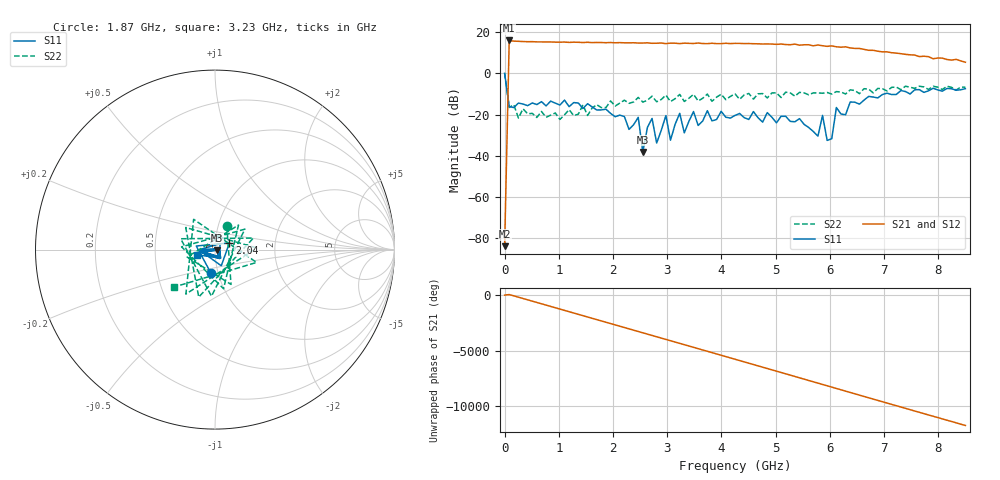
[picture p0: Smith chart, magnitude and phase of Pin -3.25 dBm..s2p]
! RsaToolbox (C) 2013 Rohde & Schwarz America
! Number of points: 101
! Number of ports: 2
! Balanced ports?: 0
# Hz S RI R 50
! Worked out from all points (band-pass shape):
!   101 points, 9 kHz to 8.5 GHz, reference 50 ohm
!   highest |S21| = 16.04 dB at 85.01 MHz (marker M1); lowest = -84.1 dB at 9 kHz (marker M2)
!   |S21| within 3 dB of the highest: 82.46 MHz to 6.104 GHz (6.022 GHz wide, 195 % of centre)
!   lowest |S11| = -38.2 dB at 2.55 GHz (marker M3), VSWR 1.02, Z = 51.2 - j0.319 ohm
!   |S11| at or under -10 dB: 52.98 MHz to 7.004 GHz (6.951 GHz wide, 197 % of centre); 7.104 GHz to 7.236 GHz (132.2 MHz wide, 1.84 % of centre); 7.479687 GHz to 7.480185 GHz (497.4 kHz wide, 0.00665 % of centre)
!   |S22| runs from -22.4 to 0.1 dB; largest |S21 - S12| = 0
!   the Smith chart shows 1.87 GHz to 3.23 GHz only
!   S11 on the Smith chart (normalised r, x): 1.87 GHz: 0.93, -0.25; 2.04 GHz: 1.17, +0.09; 3.23 GHz: 0.81, -0.05
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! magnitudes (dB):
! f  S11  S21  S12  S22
! 9 kHz  0.1  -84.1  -84.1  0.1
! 85.01 MHz  -16.1  16.0  16.0  -16.6
! 1.445 GHz  -17.1  15.0  15.0  -15.3
! 1.87 GHz  -17.4  15.0  15.0  -16.6
! 2.04 GHz  -21.1  14.9  14.9  -15.9
! 2.465 GHz  -21.4  14.8  14.8  -11.7
! 2.55 GHz  -38.2  14.8  14.8  -14.0
! 2.72 GHz  -21.9  14.7  14.7  -11.1
! 2.805 GHz  -33.9  14.7  14.7  -13.8
! 2.89 GHz  -27.6  14.8  14.8  -12.7
! 2.975 GHz  -20.5  14.5  14.5  -10.6
! 3.06 GHz  -32.5  14.7  14.7  -13.7
! 3.23 GHz  -19.4  14.5  14.5  -10.2
! 3.315 GHz  -28.9  14.7  14.7  -13.6
! 3.485 GHz  -18.6  14.6  14.6  -10.2
! 4.25 GHz  -20.4  14.6  14.6  -9.9
! 5.695 GHz  -28.3  13.4  13.4  -9.5
! 5.865 GHz  -20.4  13.5  13.5  -9.6
! 6.035 GHz  -31.8  13.4  13.4  -10.1
! 6.12 GHz  -16.6  13.0  13.0  -8.8
! 7.14 GHz  -10.3  10.1  10.1  -6.8
! 8.5 GHz  -7.4  5.4  5.4  -6.7
